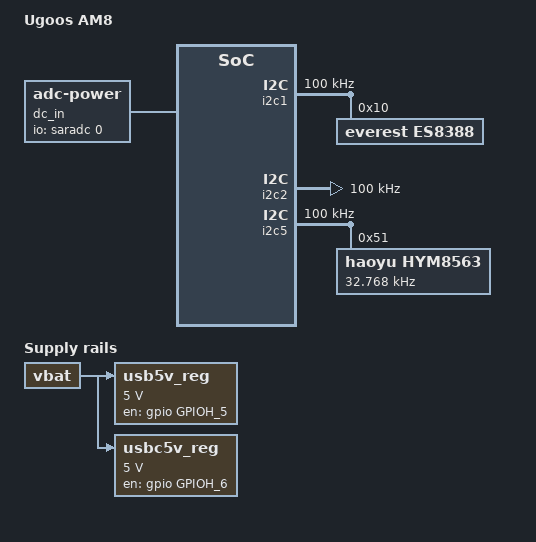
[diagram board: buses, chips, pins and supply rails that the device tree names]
#include "s5_s928x_ax201_v2_linux.dts"
#include "dt-bindings/usb/pd.h"
#include "coreelec_s5_common.dtsi"

/ {
	model = "Ugoos AM8";
	coreelec-dt-id = "s5_s928x_ugoos_am8_4g";
	amlogic-dt-id = "s5_s928x_AM8-4g";

	memory@0 {
		device_type = "memory";
		linux,usable-memory = <0x00000000 0x00000000 0x00000000 0xE0000000
					0x00000001 0x00000000 0x00000000 0x20000000>;
	};

	gpioleds {
		/* red led */
		net_red {
			label = "net_red";
			gpios = <&gpio GPIOD_7 GPIO_ACTIVE_LOW>;
			linux,default-trigger = "default-on";
			retain-state-suspended;
		};

		/* green led */
		net_green {
			label = "net_green";
			gpios = <&gpio GPIOD_11 GPIO_ACTIVE_HIGH>;
			linux,default-trigger = "default-on";
		};

		/* blue led */
		net_blue {
			label = "net_blue";
			gpios = <&gpio GPIOD_6 GPIO_ACTIVE_LOW>;
			linux,default-trigger = "default-on";
			retain-state-shutdown;
		};
	};

	// usb hub
	usb5v_reg: fixedregulator@usb5v {
		vin-supply = <&vbat>;
		compatible = "regulator-fixed";
		regulator-name = "USB5V";
		regulator-min-microvolt = <5000000>;
		regulator-max-microvolt = <5000000>;
		pinctrl-names = "default";
		gpio = <&gpio GPIOH_5 GPIO_ACTIVE_HIGH>;
		startup-delay-us = <70000>;
		enable-active-high;
		early-suspend;
		regulator-boot-on;
		regulator-always-on;
		regulator-state-mem {
			regulator-on-in-suspend;
		};
	};

	// usbc
	usbc5v_reg: fixedregulator@usbc5v {
		vin-supply = <&vbat>;
		compatible = "regulator-fixed";
		regulator-name = "USBC5V";
		regulator-min-microvolt = <5000000>;
		regulator-max-microvolt = <5000000>;
		pinctrl-names = "default";
		gpio = <&gpio GPIOH_6 GPIO_ACTIVE_HIGH>;
		startup-delay-us = <70000>;
		enable-active-high;
		early-suspend;
		regulator-boot-on;
		regulator-always-on;
		regulator-state-mem {
			regulator-on-in-suspend;
		};
	};

	dc_in {
		compatible = "adc-power";
		name = "dc_in";
		voltage_k = <15123>;
		io-channels = <&saradc 0>;
		io-channel-names = "voltage";
	};

	gpio_keypad{
		key_num = <1>;
		key_name = "power";
		key_code = <116>;
		key-gpios = <&gpio  GPIOD_2  GPIO_ACTIVE_HIGH>;
	};
};

&i2c1 {
	clock-frequency = <100000>;

	es8388: es8388@10 {
		status = "okay";
		compatible = "everest,es8388";
		#sound-dai-cells = <0>;
		reg = <0x10>;
		/*spk-con-gpio = <&gpio GPIOA_6 0x00>;*/
		def-vol = <0x1d>;
		def-dacvol = <0x0a>;
	};
};

&i2c2 {
	clock-frequency = <100000>;
};

/* rtc, eeprom */
&i2c5 {
	status = "okay";
	pinctrl-0 = <&i2c5_pins2>;
	clock-frequency = <100000>;

	hym8563: hym8563@51 {
		compatible = "haoyu,hym8563";
		reg = <0x51>;
		#clock-cells = <0>;
		clock-frequency = <32768>;
		clock-output-names = "xin32k";
	};
};

// usb host controller (port C)
&crg31 {
	vbus-supply = <&usb5v_reg>;
};

&crg_udc_2 {
	status = "disabled";
};

&aml_bt {
	hostwake-gpios = <&gpio GPIOX_3 GPIO_ACTIVE_HIGH>;
};
